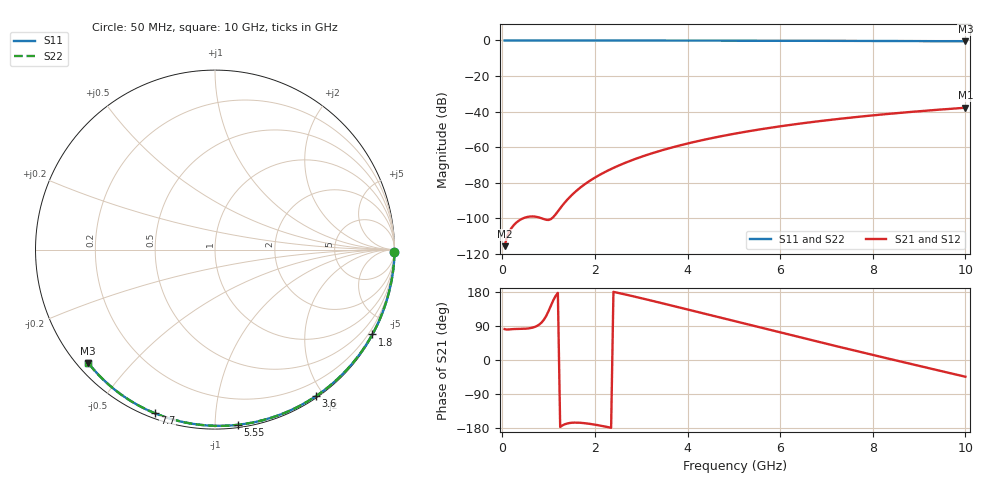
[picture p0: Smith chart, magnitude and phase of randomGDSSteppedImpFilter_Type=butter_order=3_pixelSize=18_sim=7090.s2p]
! freq	dB(S11)	phase(S11)	dB(S12)	phase(S12)
!  dB(S21)	phase(S21)	dB(S22)	phase(S22)
!S-par simulation data
#  GHz  S  DB  R 50
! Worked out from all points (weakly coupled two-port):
!   200 points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, 50 MHz to 10 GHz, reference 50 ohm
!   highest |S21| = -37.86 dB at 10 GHz (marker M1); lowest = -115.7 dB at 50 MHz (marker M2)
!   lowest |S11| = -0.5 dB at 10 GHz (marker M3), VSWR 37.05, Z = 1.55 - j19.1 ohm
!   |S11| at or under -10 dB: nowhere
!   |S22| runs from -0.5 to 0.0 dB; largest |S21 - S12| = 0
!   S11 on the Smith chart (normalised r, x): 50 MHz: open; 1.8 GHz: 0.03, -3.96; 3.6 GHz: 0.02, -1.91; 5.55 GHz: 0.02, -1.14; 7.7 GHz: 0.02, -0.70; 10 GHz: 0.03, -0.38
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0.05  -0.00 -0.8  -115.73 81.6  -115.73 81.6  -0.00 -0.8
0.45  -0.01 -7.2  -100.04 82.3  -100.04 82.3  -0.01 -7.2
0.9  -0.02 -14.3  -100.54 106.6  -100.54 106.6  -0.02 -14.3
1.75  -0.04 -27.6  -81.47 -166.4  -81.47 -166.4  -0.04 -27.6
1.8  -0.04 -28.4  -80.53 -167.0  -80.53 -167.0  -0.04 -28.4
1.85  -0.04 -29.1  -79.64 -167.8  -79.64 -167.8  -0.04 -29.1
2.05  -0.04 -32.2  -76.39 -171.7  -76.39 -171.7  -0.04 -32.2
2.25  -0.05 -35.3  -73.58 -176.3  -73.58 -176.3  -0.05 -35.3
2.55  -0.05 -39.8  -69.96 175.8  -69.96 175.8  -0.05 -39.8
2.95  -0.06 -45.8  -65.93 164.6  -65.93 164.6  -0.06 -45.8
3.4  -0.07 -52.5  -62.15 151.4  -62.15 151.4  -0.07 -52.5
3.6  -0.07 -55.4  -60.66 145.4  -60.66 145.4  -0.07 -55.4
3.9  -0.08 -59.7  -58.62 136.3  -58.62 136.3  -0.08 -59.7
4.3  -0.09 -65.4  -56.18 124.2  -56.18 124.2  -0.09 -65.4
5.05  -0.12 -75.9  -52.29 101.4  -52.29 101.4  -0.12 -75.9
5.55  -0.14 -82.6  -50.08 86.3  -50.08 86.3  -0.14 -82.6
6.1  -0.16 -89.9  -47.93 69.7  -47.93 69.7  -0.16 -89.9
6.7  -0.19 -97.7  -45.86 51.8  -45.86 51.8  -0.19 -97.7
7.7  -0.25 -110.3  -42.92 22.2  -42.92 22.2  -0.25 -110.3
8.35  -0.30 -118.3  -41.28 3.2  -41.28 3.2  -0.30 -118.3
9.2  -0.38 -128.6  -39.40 -21.3  -39.40 -21.3  -0.38 -128.6
10  -0.47 -138.2  -37.86 -44.1  -37.86 -44.1  -0.47 -138.2
